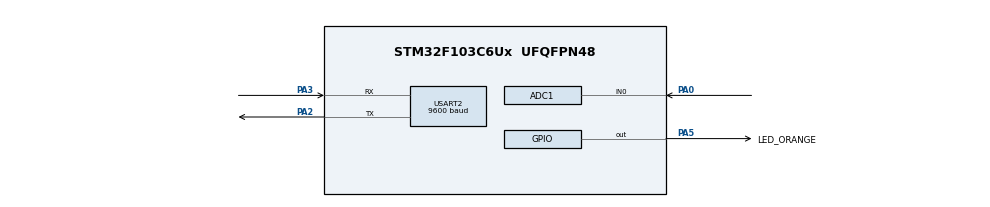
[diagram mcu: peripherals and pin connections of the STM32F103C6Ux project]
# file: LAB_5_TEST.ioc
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ADC1.Channel-0\#ChannelRegularConversion=ADC_CHANNEL_0
ADC1.ContinuousConvMode=ENABLE
ADC1.NbrOfConversionFlag=1
ADC1.Rank-0\#ChannelRegularConversion=1
ADC1.SamplingTime-0\#ChannelRegularConversion=ADC_SAMPLETIME_1CYCLE_5
ADC1.master=1
Mcu.Family=STM32F1
Mcu.Name=STM32F103C6Ux
Mcu.Package=UFQFPN48
NVIC.PriorityGroup=NVIC_PRIORITYGROUP_4
NVIC.USART2_IRQn=true\:0\:0\:false\:false\:true\:true\:true\:true
PA0-WKUP.Signal=ADCx_IN0
PA2.Mode=Asynchronous
PA2.Signal=USART2_TX
PA3.Mode=Asynchronous
PA3.Signal=USART2_RX
PA5.GPIO_Label=LED_ORANGE
PA5.Signal=GPIO_Output
ProjectManager.HeapSize=0x200
ProjectManager.StackSize=0x400
ProjectManager.TargetToolchain=STM32CubeIDE
RCC.APB1Freq_Value=8000000
RCC.APB2Freq_Value=8000000
SH.ADCx_IN0.0=ADC1_IN0,IN0
USART2.BaudRate=9600
USART2.VirtualMode=VM_ASYNC
VP_SYS_VS_ND.Mode=No_Debug
board=custom

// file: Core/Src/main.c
/* USER CODE BEGIN Header */
/**
  ******************************************************************************
  * @file           : main.c
  * @brief          : Main program body
  ******************************************************************************
  * @attention
  *
  * Copyright (c) 2024 STMicroelectronics.
  * All rights reserved.
  *
  * This software is licensed under terms that can be found in the LICENSE file
  * in the root directory of this software component.
  * If no LICENSE file comes with this software, it is provided AS-IS.
  *
  ******************************************************************************
  */
/* USER CODE END Header */
#include "main.h"
#include "command_parser_fsm.h"
#include "uart_communiation_fsm.h"

ADC_HandleTypeDef hadc1;

UART_HandleTypeDef huart2;

void SystemClock_Config(void);
static void MX_GPIO_Init(void);
static void MX_ADC1_Init(void);
static void MX_USART2_UART_Init(void);

/* USER CODE BEGIN 0 */
uint8_t temp = 0;
uint8_t buffer[MAX_BUFFER_SIZE];
uint8_t index_buffer = 0;
uint8_t buffer_flag = 0;
uint32_t ADC_value;

void HAL_UART_RxCpltCallback(UART_HandleTypeDef *huart){
	 if(huart->Instance == USART2){
		 HAL_UART_Transmit(&huart2, &temp, 1, 500);

		 buffer[index_buffer++] = temp;
		 if(index_buffer == 30) index_buffer = 0;
		 buffer_flag = 1;

		 HAL_UART_Receive_IT(&huart2, &temp, 1);
	 }
}

void get_adc() {
    HAL_ADC_Start(&hadc1);
    ADC_value = HAL_ADC_GetValue(&hadc1);
    HAL_ADC_Stop(&hadc1);
}
/* USER CODE END 0 */

int main(void)
{

  /* MCU Configuration--------------------------------------------------------*/

  /* Reset of all peripherals, Initializes the Flash interface and the Systick. */
  HAL_Init();

  /* Configure the system clock */
  SystemClock_Config();

  /* Initialize all configured peripherals */
  MX_GPIO_Init();
  MX_ADC1_Init();
  MX_USART2_UART_Init();
  /* USER CODE BEGIN 2 */
  HAL_UART_Receive_IT(&huart2, &temp, 1);

  /* USER CODE END 2 */

  /* Infinite loop */
  /* USER CODE BEGIN WHILE */
  char str[50];
  while (1)
  {
    /* USER CODE END WHILE */
//  	  HAL_ADC_Start(&hadc1);

	  	  get_adc();
	  	  if(buffer_flag == 1)
	  	  {
	  		  command_parser_fsm();
	  		  buffer_flag = 0;
	  	  }
	  	  uart_communication_fsm();

  }
}

void SystemClock_Config(void)
{
  RCC_OscInitTypeDef RCC_OscInitStruct = {0};
  RCC_ClkInitTypeDef RCC_ClkInitStruct = {0};
  RCC_PeriphCLKInitTypeDef PeriphClkInit = {0};

  /** Initializes the RCC Oscillators according to the specified parameters
  * in the RCC_OscInitTypeDef structure.
  */
  RCC_OscInitStruct.OscillatorType = RCC_OSCILLATORTYPE_HSI;
  RCC_OscInitStruct.HSIState = RCC_HSI_ON;
  RCC_OscInitStruct.HSICalibrationValue = RCC_HSICALIBRATION_DEFAULT;
  RCC_OscInitStruct.PLL.PLLState = RCC_PLL_NONE;
  if (HAL_RCC_OscConfig(&RCC_OscInitStruct) != HAL_OK)
  {
    Error_Handler();
  }

  /** Initializes the CPU, AHB and APB buses clocks
  */
  RCC_ClkInitStruct.ClockType = RCC_CLOCKTYPE_HCLK|RCC_CLOCKTYPE_SYSCLK
                              |RCC_CLOCKTYPE_PCLK1|RCC_CLOCKTYPE_PCLK2;
  RCC_ClkInitStruct.SYSCLKSource = RCC_SYSCLKSOURCE_HSI;
  RCC_ClkInitStruct.AHBCLKDivider = RCC_SYSCLK_DIV1;
  RCC_ClkInitStruct.APB1CLKDivider = RCC_HCLK_DIV1;
  RCC_ClkInitStruct.APB2CLKDivider = RCC_HCLK_DIV1;

  if (HAL_RCC_ClockConfig(&RCC_ClkInitStruct, FLASH_LATENCY_0) != HAL_OK)
  {
    Error_Handler();
  }
  PeriphClkInit.PeriphClockSelection = RCC_PERIPHCLK_ADC;
  PeriphClkInit.AdcClockSelection = RCC_ADCPCLK2_DIV2;
  if (HAL_RCCEx_PeriphCLKConfig(&PeriphClkInit) != HAL_OK)
  {
    Error_Handler();
  }
}

static void MX_ADC1_Init(void)
{

  ADC_ChannelConfTypeDef sConfig = {0};

  /** Common config
  */
  hadc1.Instance = ADC1;
  hadc1.Init.ScanConvMode = ADC_SCAN_DISABLE;
  hadc1.Init.ContinuousConvMode = ENABLE;
  hadc1.Init.DiscontinuousConvMode = DISABLE;
  hadc1.Init.ExternalTrigConv = ADC_SOFTWARE_START;
  hadc1.Init.DataAlign = ADC_DATAALIGN_RIGHT;
  hadc1.Init.NbrOfConversion = 1;
  if (HAL_ADC_Init(&hadc1) != HAL_OK)
  {
    Error_Handler();
  }

  /** Configure Regular Channel
  */
  sConfig.Channel = ADC_CHANNEL_0;
  sConfig.Rank = ADC_REGULAR_RANK_1;
  sConfig.SamplingTime = ADC_SAMPLETIME_1CYCLE_5;
  if (HAL_ADC_ConfigChannel(&hadc1, &sConfig) != HAL_OK)
  {
    Error_Handler();
  }

}

static void MX_USART2_UART_Init(void)
{

  huart2.Instance = USART2;
  huart2.Init.BaudRate = 9600;
  huart2.Init.WordLength = UART_WORDLENGTH_8B;
  huart2.Init.StopBits = UART_STOPBITS_1;
  huart2.Init.Parity = UART_PARITY_NONE;
  huart2.Init.Mode = UART_MODE_TX_RX;
  huart2.Init.HwFlowCtl = UART_HWCONTROL_NONE;
  huart2.Init.OverSampling = UART_OVERSAMPLING_16;
  if (HAL_UART_Init(&huart2) != HAL_OK)
  {
    Error_Handler();
  }

}

static void MX_GPIO_Init(void)
{
  GPIO_InitTypeDef GPIO_InitStruct = {0};

  /* GPIO Ports Clock Enable */
  __HAL_RCC_GPIOA_CLK_ENABLE();

  /*Configure GPIO pin Output Level */
  HAL_GPIO_WritePin(LED_ORANGE_GPIO_Port, LED_ORANGE_Pin, GPIO_PIN_RESET);

  /*Configure GPIO pin : LED_ORANGE_Pin */
  GPIO_InitStruct.Pin = LED_ORANGE_Pin;
  GPIO_InitStruct.Mode = GPIO_MODE_OUTPUT_PP;
  GPIO_InitStruct.Pull = GPIO_NOPULL;
  GPIO_InitStruct.Speed = GPIO_SPEED_FREQ_LOW;
  HAL_GPIO_Init(LED_ORANGE_GPIO_Port, &GPIO_InitStruct);

}

void Error_Handler(void)
{
  __disable_irq();
  while (1)
  {
  }
}
